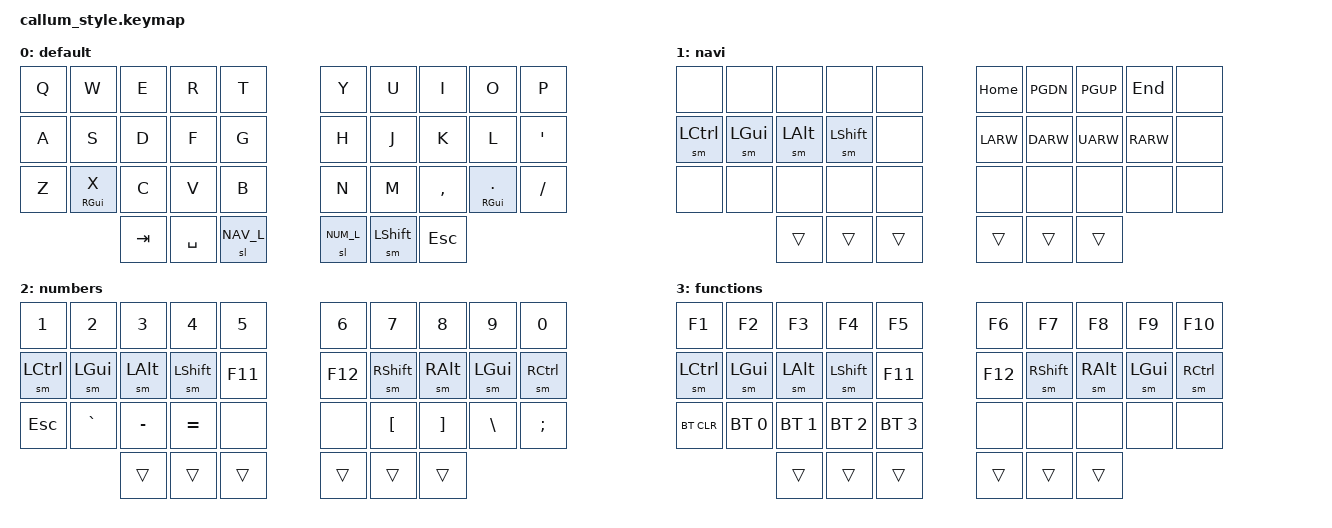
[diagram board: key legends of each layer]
/*
 * Copyright (c) 2020 The ZMK Contributors
 *
 * SPDX-License-Identifier: MIT
 */

#include <behaviors.dtsi>
#include <dt-bindings/zmk/keys.h>
#include <dt-bindings/zmk/bt.h>

/* Layers */
#define DEF_L 0
#define NAV_L 1
#define NUM_L 2
#define FUN_L 3

#include "combos.keymap"

/ {
  chosen {
    zmk,matrix_transform = &five_column_transform;
  };
};

&lt {
    flavor = "tap-preferred";
    tapping-term-ms = <125>;
    quick-tap-ms = <100>;
};

&sl {
    release-after-ms = <1500>;
};

/ {
    behaviors {
        sm: sticky_mod {
            compatible = "zmk,behavior-sticky-key";
            label = "STICKY_MOD";
            #binding-cells = <1>;
            release-after-ms = <1500>;
            bindings = <&kp>;
            ignore-modifiers;
            quick-release;
        };
    };

    conditional_layers {
        compatible = "zmk,conditional-layers";
        tri_layer {
            if-layers = <NAV_L NUM_L>;
            then-layer = <FUN_L>;
        };
    };
};



/ {
    keymap {
        compatible = "zmk,keymap";

        def_layer {
            label = "default";
            bindings = <
&kp Q  &kp W &kp E &kp R &kp T &kp Y &kp U &kp I &kp O &kp P   
&kp A  &kp S &kp D &kp F &kp G &kp H &kp J &kp K &kp L &kp QUOT
&kp Z &mt RGUI X &kp C &kp V &kp B &kp N &kp M &kp CMMA &mt RGUI DOT  &kp SLASH
            &kp TAB &kp SPC &sl NAV_L        &sl NUM_L &sm LSHIFT &kp ESC
            >;
        };

        nav_layer {
            label = "navi";
            bindings = <
&none &none &none &none &none &kp HOME &kp PGDN &kp PGUP &kp END &none
&sm LCTRL &sm LGUI &sm LALT &sm LSHFT &none &kp LARW &kp DARW &kp UARW &kp RARW &none
&none &none &none &none &none &none &none &none &none &none
            &trans &trans &trans &trans &trans &trans
            >;
        };
        num_layer {
            label = "numbers";
            bindings = <
&kp NUMBER_1 &kp NUMBER_2 &kp NUMBER_3 &kp NUMBER_4 &kp NUMBER_5 &kp NUMBER_6 &kp NUMBER_7 &kp NUMBER_8 &kp NUMBER_9 &kp NUMBER_0
&sm LCTRL &sm LGUI &sm LALT &sm LSHFT &kp F11 &kp F12 &sm RSHFT &sm RALT &sm LGUI &sm RCTRL
&kp ESC &kp GRAVE &kp MINUS &kp EQUAL &none &none &kp LEFT_BRACKET &kp RIGHT_BRACKET &kp BACKSLASH &kp SCLN
            &trans &trans &trans &trans &trans &trans
            >;
        };
        fun_layer {
            label = "functions";
            bindings = <
&kp F1 &kp F2 &kp F3 &kp F4 &kp F5 &kp F6 &kp F7 &kp F8 &kp F9 &kp F10
&sm LCTRL &sm LGUI &sm LALT &sm LSHFT &kp F11 &kp F12 &sm RSHFT &sm RALT &sm LGUI &sm RCTRL
&bt BT_CLR  &bt BT_SEL 0 &bt BT_SEL 1 &bt BT_SEL 2 &bt BT_SEL 3 &none &none &none &none &none 
            &trans &trans &trans &trans &trans &trans
            >;
        };
    };
};
